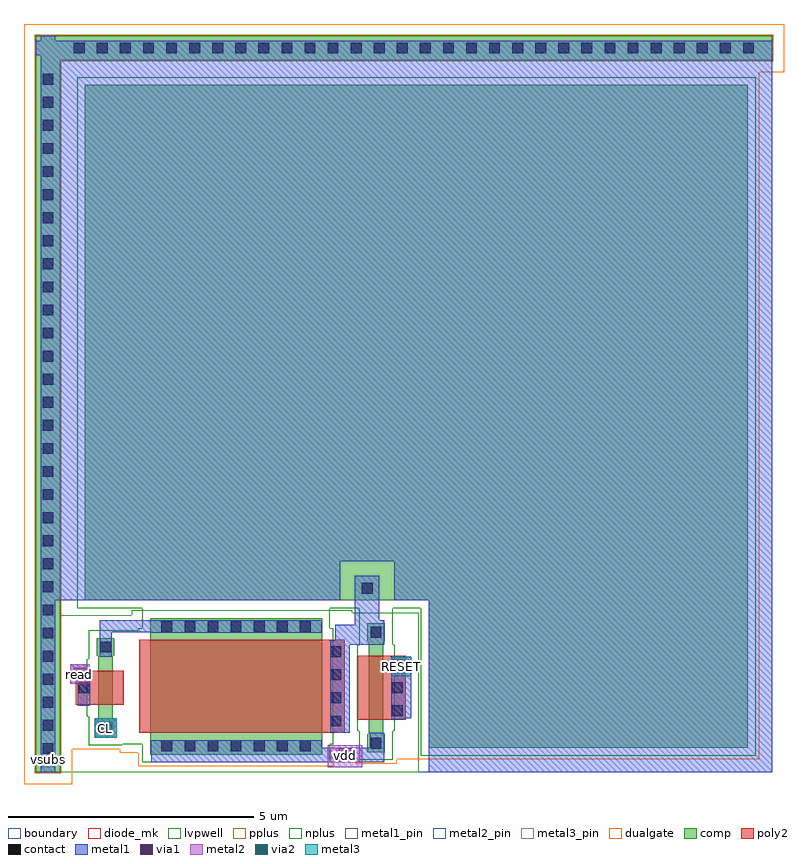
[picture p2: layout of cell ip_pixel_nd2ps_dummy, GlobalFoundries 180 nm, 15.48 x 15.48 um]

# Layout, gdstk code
from math import pi, radians
import gdstk
lib = gdstk.Library(unit=1e-6, precision=1e-09)
def R(c, l, rs):  # rectangles x0, y0, x1, y1
    for r in rs: c.add(gdstk.rectangle(r[:2], r[2:], *l))
def A(c, l, x, y, w, h, nx, ny, dx, dy):  # array of equal rectangles
    R(c, l, [(x+i*dx, y+j*dy, x+i*dx+w, y+j*dy+h) for i in range(nx) for j in range(ny)])
boundary = (0, 0)
comp = (22, 0)
poly2 = (30, 0)
pplus = (31, 0)
nplus = (32, 0)
contact = (33, 0)
metal1 = (34, 0)
metal1_pin = (34, 10)
via1 = (35, 0)
metal2 = (36, 0)
metal2_pin = (36, 10)
via2 = (38, 0)
metal3 = (42, 0)
metal3_pin = (42, 10)
dualgate = (55, 0)
diode_mk = (115, 5)
lvpwell = (204, 0)

nfet_06v0_xgqpts = lib.new_cell('nfet_06v0_XGQPTS')
R(nfet_06v0_xgqpts, comp, [(-1.01,-0.3,-0.65,-0.27), (0.65,-0.3,1.01,-0.27), (-1.01,-0.27,1.01,0.03), (-1.01,0.03,-0.65,0.06), (0.65,0.03,1.01,0.06)])
R(nfet_06v0_xgqpts, poly2, [(-0.35,-0.49,0.35,0.49)])
R(nfet_06v0_xgqpts, nplus, [(-0.58,-0.5,0.58,-0.46), (-1.17,-0.46,1.17,0.22), (-0.58,0.22,0.58,0.26)])
R(nfet_06v0_xgqpts, contact, [(-0.94,-0.23,-0.72,-0.01), (0.72,-0.23,0.94,-0.01), (-0.11,0.2,0.11,0.42)])
R(nfet_06v0_xgqpts, metal1, [(-1,-0.235,-0.66,-0.005), (0.66,-0.235,1,-0.005), (-0.34,0.195,0.34,0.425)])
R(nfet_06v0_xgqpts, dualgate, [(-0.75,-0.89,0.75,-0.54), (-1.25,-0.54,1.25,0.3), (-0.75,0.3,0.75,0.89)])
R(nfet_06v0_xgqpts, lvpwell, [(-1.17,-0.65,1.17,0.65)])

nfet_06v0_g9trtn = lib.new_cell('nfet_06v0_G9TRTN')
R(nfet_06v0_g9trtn, comp, [(-1.39,-1.87,1.39,1.63)])
R(nfet_06v0_g9trtn, poly2, [(-0.95,-2.09,0.95,2.09)])
R(nfet_06v0_g9trtn, nplus, [(-1.18,-2.1,1.18,-2.03), (-1.55,-2.03,1.55,1.79), (-1.18,1.79,1.18,1.86)])
A(nfet_06v0_g9trtn, contact, -1.32, -1.64, 0.22, 0.22, 1, 7, 0, 0.47)
A(nfet_06v0_g9trtn, contact, 1.1, -1.64, 0.22, 0.22, 1, 7, 0, 0.47)
A(nfet_06v0_g9trtn, contact, -0.815, 1.8, 0.22, 0.22, 4, 1, 0.47, 0)
R(nfet_06v0_g9trtn, metal1, [(-1.325,-1.86,-1.095,1.62), (1.095,-1.86,1.325,1.62), (-0.94,1.795,0.94,2.025)])
R(nfet_06v0_g9trtn, dualgate, [(-1.35,-2.49,1.35,-2.11), (-1.63,-2.11,1.63,1.87), (-1.35,1.87,1.35,2.49)])
R(nfet_06v0_g9trtn, lvpwell, [(-1.55,-2.25,1.55,2.25)])

nfet_06v0_569j58 = lib.new_cell('nfet_06v0_569J58')
R(nfet_06v0_569j58, comp, [(-1.31,-0.3,-0.95,-0.27), (0.95,-0.3,1.31,-0.27), (-1.31,-0.27,1.31,0.03), (-1.31,0.03,-0.95,0.06), (0.95,0.03,1.31,0.06)])
R(nfet_06v0_569j58, poly2, [(-0.65,-0.49,0.65,0.49)])
R(nfet_06v0_569j58, nplus, [(-0.88,-0.5,0.88,-0.46), (-1.47,-0.46,1.47,0.22), (-0.88,0.22,0.88,0.26)])
A(nfet_06v0_569j58, contact, -0.58, 0.2, 0.22, 0.22, 3, 1, 0.47, 0)
R(nfet_06v0_569j58, contact, [(-1.24,-0.23,-1.02,-0.01), (1.02,-0.23,1.24,-0.01)])
R(nfet_06v0_569j58, metal1, [(-1.3,-0.235,-0.96,-0.005), (0.96,-0.235,1.3,-0.005), (-0.64,0.195,0.64,0.425)])
R(nfet_06v0_569j58, dualgate, [(-1.05,-0.89,1.05,-0.54), (-1.55,-0.54,1.55,0.3), (-1.05,0.3,1.05,0.89)])
R(nfet_06v0_569j58, lvpwell, [(-1.47,-0.65,1.47,0.65)])

diode_nd2ps_06v0_custom = lib.new_cell('diode_nd2ps_06v0_CUSTOM')
R(diode_nd2ps_06v0_custom, boundary, [(-7,-9,8,6)])
R(diode_nd2ps_06v0_custom, comp, [(-7,-9,-6.5,5.5), (1,-8.5,7.5,-5.5), (-6,-5.5,7.5,5), (-7,5.5,8,6)])
R(diode_nd2ps_06v0_custom, pplus, [(-7.02,-9.02,-6.48,5.48), (-7.02,5.48,8.02,6.02)])
R(diode_nd2ps_06v0_custom, nplus, [(0.84,-8.66,7.66,-5.66), (-6.16,-5.66,7.66,5.16)])
A(diode_nd2ps_06v0_custom, contact, -6.86, -8.625, 0.22, 0.22, 1, 30, 0, 0.47)
A(diode_nd2ps_06v0_custom, contact, -6.225, 5.64, 0.22, 0.22, 30, 1, 0.47, 0)
R(diode_nd2ps_06v0_custom, contact, [(-0.36,-5.36,-0.14,-5.14)])
R(diode_nd2ps_06v0_custom, metal1, [(-6.9,-9,-6.6,5.6), (-0.5,-5.5,0,-5), (-7,5.6,8,5.9), (-6.9,5.9,-6.6,6)])
R(diode_nd2ps_06v0_custom, dualgate, [(-7.24,-9.24,-6.26,-5.74), (0.76,-8.74,7.74,-5.74), (-7.24,-5.74,7.74,5.26), (-7.24,5.26,8.24,6.24)])
R(diode_nd2ps_06v0_custom, diode_mk, [(1,-8.5,7.5,-5.5), (-6,-5.5,7.5,5)])
R(diode_nd2ps_06v0_custom, lvpwell, [(-7,-9,-6.5,5.5), (-7,5.5,8,6)])

ip_pixel_nd2ps_dummy = lib.new_cell('ip_pixel_nd2ps_dummy')
R(ip_pixel_nd2ps_dummy, nplus, [(5.76,-9.43,6.1,-8.86), (5.8,-8.86,6.1,-7.7), (5.76,-7.7,6.1,-7.11), (10.59,-6.81,11.27,-6.66), (6.17,-6.7,9.99,-6.66)])
R(ip_pixel_nd2ps_dummy, metal1, [(4.1,-10,4.4,-9.3), (12,-10,19,-6.5), (6.35,-9.8,11.1,-9.5), (6.35,-9.5,9.8,-9.35), (10.8,-9.5,11.1,-9.2), (5.2,-9.3,5.65,-8.9), (10.1,-9.2,10.4,-7.4), (11.25,-8.9,11.65,-7.65), (4.85,-8.65,5.1,-8.2), (4.7,-8.2,5.1,-7.8), (5.3,-7.65,5.55,-7.15), (10.1,-7.4,11.1,-7), (5.3,-7.15,6.5,-6.95), (10.5,-7,11.1,-6.9), (5.3,-6.95,9.8,-6.9), (10.5,-6.9,11,-6), (4.4,-6.5,10.2,-5.7), (11.3,-6.5,19,-5.7), (4.4,-5.7,19,4.6), (4.395,4.905,4.4,5)])
R(ip_pixel_nd2ps_dummy, metal1_pin, [(4.1,-9.9,4.4,-9.6)])
R(ip_pixel_nd2ps_dummy, via1, [(10.17,-9.78,10.43,-9.52), (5.295,-9.23,5.555,-8.97), (4.77,-8.13,5.03,-7.87), (11.32,-7.98,11.58,-7.72)])
R(ip_pixel_nd2ps_dummy, metal2, [(9.95,-9.9,10.65,-9.45), (5.2,-9.3,5.65,-8.9), (4.7,-8.2,5.1,-7.8), (11.25,-8.05,11.65,-7.65)])
R(ip_pixel_nd2ps_dummy, metal2_pin, [(10,-9.8,10.6,-9.5), (4.7,-8.2,5.1,-7.8)])
R(ip_pixel_nd2ps_dummy, via2, [(5.295,-9.23,5.555,-8.97), (11.32,-7.98,11.58,-7.72)])
R(ip_pixel_nd2ps_dummy, metal3, [(5.2,-9.3,5.65,-8.9), (11.25,-8.05,11.65,-7.65)])
R(ip_pixel_nd2ps_dummy, metal3_pin, [(5.2,-9.3,5.65,-8.9), (11.25,-8.05,11.65,-7.65)])
R(ip_pixel_nd2ps_dummy, dualgate, [(11.35,-9.74,11.76,-9.33), (4.74,-9.53,5,-9.03), (4.74,-7.53,5,-7.03), (11.35,-7.23,11.76,-6.74), (4.74,-7.03,5.71,-6.9), (4.74,-6.9,6.09,-6.74), (10.07,-6.9,10.51,-6.74)])
R(ip_pixel_nd2ps_dummy, lvpwell, [(4.5,-10,11.8,-9.9), (4,-9.9,11.8,-9.6), (4.5,-9.6,11.8,-9.5), (4.5,-9.5,9.8,-9.35), (9.85,-9.5,9.9,-9.4), (10.7,-9.5,11.8,-9.4), (9.85,-9.4,11.8,-9.35), (4.5,-9.35,11.8,-9.3), (4.5,-9.3,11.3,-8.9), (11.65,-9.3,11.8,-8.9), (4.5,-8.9,11.8,-8.2), (4.5,-8.2,4.7,-7.8), (5.1,-8.2,11.8,-7.8), (4.5,-7.8,11.8,-7.65), (4.5,-7.65,11.3,-7.6), (11.6,-7.65,11.8,-7.6), (4.5,-7.6,11.8,-6.8), (9.9,-6.8,11.8,-6.75)])
ip_pixel_nd2ps_dummy.add(gdstk.Reference(nfet_06v0_xgqpts, (5.3,-8.28), rotation=pi/2))
ip_pixel_nd2ps_dummy.add(gdstk.Reference(nfet_06v0_g9trtn, (8.2,-8.25), rotation=3*pi/2))
ip_pixel_nd2ps_dummy.add(gdstk.Reference(nfet_06v0_569j58, (11.05,-8.28), rotation=3*pi/2))
ip_pixel_nd2ps_dummy.add(gdstk.Reference(diode_nd2ps_06v0_custom, (11,-1)))
ip_pixel_nd2ps_dummy.add(gdstk.Label('vsubs', (4.25,-9.75), layer=34, texttype=10))
ip_pixel_nd2ps_dummy.add(gdstk.Label('vdd', (10.3,-9.65), layer=36, texttype=10))
ip_pixel_nd2ps_dummy.add(gdstk.Label('read', (4.9,-8), layer=36, texttype=10))
ip_pixel_nd2ps_dummy.add(gdstk.Label('CL', (5.425,-9.1), layer=42, texttype=10))
ip_pixel_nd2ps_dummy.add(gdstk.Label('RESET', (11.45,-7.85), layer=42, texttype=10))

lib.write_gds('ip_pixel_nd2ps_dummy.gds')
